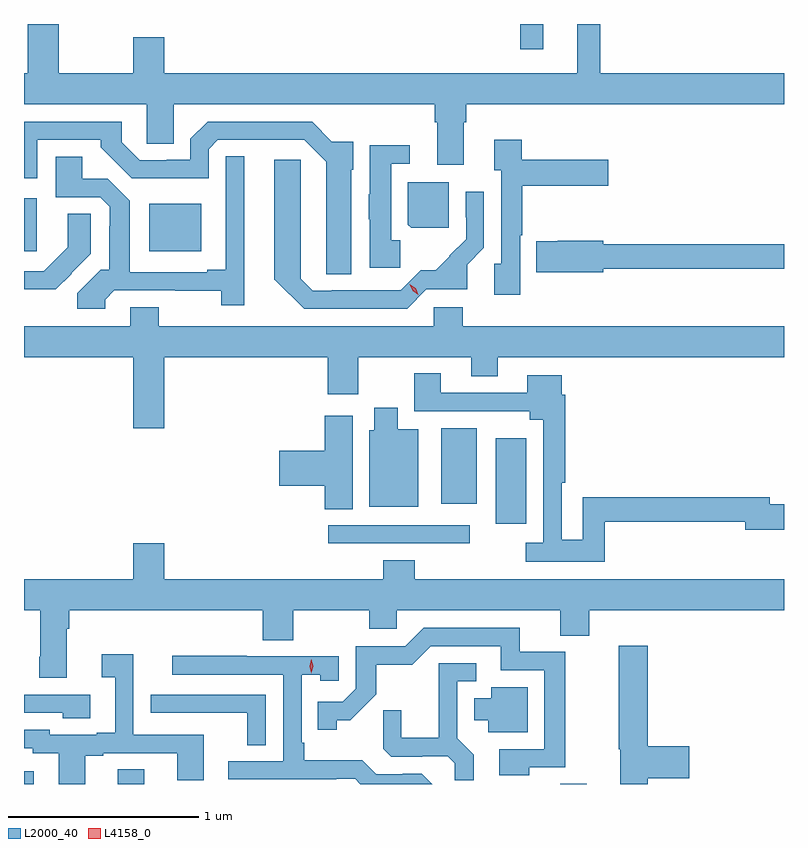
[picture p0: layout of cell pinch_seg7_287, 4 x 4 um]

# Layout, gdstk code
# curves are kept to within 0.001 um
import gdstk
lib = gdstk.Library(unit=1e-6, precision=1e-09)
def R(c, l, rs):  # rectangles x0, y0, x1, y1
    for r in rs: c.add(gdstk.rectangle(r[:2], r[2:], *l))
def P(c, l, *ps):  # polygons
    for p in ps: c.add(gdstk.Polygon(p, *l))
L2000_40 = (2000, 40)
L4158_0 = (4158, 0)

pinch_seg7_287 = lib.new_cell('pinch_seg7_287')
R(pinch_seg7_287, L2000_40, [(560.037,1074.294,560.089,1074.361), (560.531,1074.294,560.671,1074.371), (562.859,1074.294,562.999,1074.296), (561.639,1075.56,562.384,1075.656), (562.52,1075.665,562.681,1076.113), (562.232,1075.769,562.42,1076.167), (560.037,1077.098,560.104,1077.376), (560.696,1077.098,560.971,1077.349), (562.65,1078.161,562.771,1078.294)])
P(pinch_seg7_287, L2000_40, [(562.351,1077.776),(562.364,1077.776),(562.364,1077.872),(564.037,1077.872),(564.037,1078.036),(563.071,1078.036),(563.071,1078.294),(562.949,1078.294),(562.949,1078.036),(560.776,1078.036),(560.776,1078.225),(560.612,1078.225),(560.612,1078.036),(560.221,1078.036),(560.221,1078.294),(560.057,1078.294),(560.057,1078.036),(560.037,1078.036),(560.037,1077.872),(560.684,1077.872),(560.684,1077.664),(560.824,1077.664),(560.824,1077.872),(562.199,1077.872),(562.199,1077.776),(562.211,1077.776),(562.211,1077.552),(562.351,1077.552)],
  [(561.76,1077.528),(561.769,1077.528),(561.769,1077.675),(561.658,1077.675),(561.553,1077.78),(561.003,1077.78),(560.913,1077.69),(560.913,1077.579),(560.788,1077.579),(560.788,1077.576),(560.646,1077.576),(560.552,1077.671),(560.552,1077.78),(560.037,1077.78),(560.037,1077.483),(560.107,1077.483),(560.107,1077.684),(560.442,1077.684),(560.442,1077.645),(560.604,1077.483),(560.707,1077.482),(561.009,1077.482),(561.009,1077.636),(561.057,1077.684),(561.513,1077.684),(561.629,1077.568),(561.629,1076.977),(561.76,1076.977)],
  [(562.648,1077.183),(562.659,1077.183),(562.659,1077.442),(563.113,1077.442),(563.113,1077.579),(562.657,1077.579),(562.657,1077.685),(562.511,1077.685),(562.511,1077.524),(562.548,1077.524),(562.548,1077.033),(562.512,1077.033),(562.512,1076.868),(562.648,1076.868)],
  [(562.018,1077.156),(561.97,1077.156),(561.97,1077.558),(562.066,1077.558),(562.066,1077.656),(561.857,1077.656),(561.857,1077.399),(561.851,1077.399),(561.851,1077.267),(561.857,1077.267),(561.857,1077.011),(562.018,1077.011)],
  [(560.464,1076.843),(560.512,1076.892),(561.076,1076.891),(561.076,1076.814),(561.196,1076.814),(561.196,1077.599),(561.099,1077.599),(561.099,1077.001),(561.002,1077.001),(561.002,1076.988),(560.593,1076.988),(560.593,1077.365),(560.478,1077.48),(560.344,1077.48),(560.344,1077.595),(560.204,1077.595),(560.204,1077.381),(560.439,1077.381),(560.487,1077.333),(560.486,1077.001),(560.44,1077.001),(560.316,1076.877),(560.316,1076.796),(560.464,1076.796)],
  [(562.155,1076.898),(562.37,1076.898),(562.37,1077.027),(562.458,1077.116),(562.458,1077.412),(562.362,1077.412),(562.362,1077.278),(562.365,1077.278),(562.365,1077.162),(562.276,1077.073),(562.278,1077.071),(562.205,1076.998),(562.126,1076.998),(562.02,1076.892),(561.658,1076.892),(561.658,1076.889),(561.558,1076.889),(561.494,1076.954),(561.493,1077.58),(561.353,1077.58),(561.353,1076.949),(561.356,1076.949),(561.433,1076.872),(561.434,1076.873),(561.512,1076.796),(562.053,1076.796)],
  [(562.273,1077.46),(562.058,1077.46),(562.058,1077.237),(562.074,1077.221),(562.273,1077.221)],
  [(560.287,1076.98),(560.286,1076.981),(560.389,1077.084),(560.388,1077.295),(560.268,1077.295),(560.268,1077.12),(560.142,1076.994),(560.037,1076.994),(560.037,1076.898),(560.203,1076.897)],
  [(563.086,1077.006),(564.037,1077.006),(564.037,1077.134),(563.086,1077.134),(563.086,1077.153),(562.846,1077.153),(562.846,1077.15),(562.734,1077.15),(562.734,1076.987),(563.086,1076.987)],
  [(560.776,1076.54),(561.635,1076.54),(561.635,1076.346),(561.795,1076.346),(561.795,1076.54),(562.391,1076.54),(562.391,1076.441),(562.531,1076.441),(562.531,1076.54),(564.037,1076.54),(564.037,1076.704),(562.346,1076.704),(562.346,1076.802),(562.194,1076.802),(562.194,1076.704),(560.745,1076.704),(560.745,1076.803),(560.597,1076.803),(560.597,1076.704),(560.037,1076.704),(560.037,1076.54),(560.612,1076.54),(560.612,1076.166),(560.776,1076.166)],
  [(563.093,1075.674),(563.834,1075.674),(563.834,1075.631),(564.037,1075.631),(564.037,1075.766),(563.962,1075.766),(563.962,1075.802),(562.977,1075.802),(562.977,1075.58),(562.866,1075.58),(562.866,1075.879),(562.886,1075.879),(562.886,1076.342),(562.867,1076.342),(562.867,1076.446),(562.685,1076.446),(562.685,1076.352),(562.231,1076.352),(562.231,1076.455),(562.091,1076.455),(562.091,1076.256),(562.7,1076.256),(562.7,1076.21),(562.77,1076.21),(562.77,1075.564),(562.677,1075.564),(562.677,1075.464),(563.093,1075.464)],
  [(562.111,1076.161),(562.003,1076.161),(562.003,1076.275),(561.881,1076.275),(561.881,1076.157),(561.854,1076.157),(561.854,1075.754),(562.111,1075.754)],
  [(561.766,1076.233),(561.62,1076.233),(561.62,1076.048),(561.381,1076.048),(561.381,1075.865),(561.62,1075.865),(561.62,1075.741),(561.766,1075.741)],
  [(560.263,1075.112),(560.276,1075.112),(560.276,1075.208),(561.293,1075.208),(561.293,1075.051),(561.453,1075.051),(561.453,1075.208),(561.853,1075.208),(561.853,1075.11),(561.999,1075.11),(561.999,1075.208),(562.859,1075.208),(562.859,1075.075),(563.012,1075.075),(563.012,1075.208),(564.037,1075.208),(564.037,1075.372),(562.094,1075.372),(562.094,1075.471),(561.929,1075.471),(561.929,1075.372),(560.776,1075.372),(560.776,1075.561),(560.612,1075.561),(560.612,1075.372),(560.037,1075.372),(560.037,1075.208),(560.123,1075.208),(560.123,1074.964),(560.116,1074.964),(560.116,1074.852),(560.263,1074.852)],
  [(562.695,1074.381),(562.885,1074.381),(562.885,1074.99),(562.646,1074.99),(562.646,1075.116),(562.14,1075.116),(562.044,1075.02),(561.783,1075.02),(561.783,1074.795),(561.714,1074.726),(561.583,1074.726),(561.583,1074.579),(561.684,1074.579),(561.684,1074.629),(561.754,1074.629),(561.892,1074.766),(561.892,1074.922),(562.081,1074.922),(562.179,1075.02),(562.547,1075.02),(562.547,1074.894),(562.776,1074.894),(562.776,1074.477),(562.539,1074.477),(562.539,1074.341),(562.695,1074.341)],
  [(563.321,1074.323),(563.539,1074.323),(563.539,1074.494),(563.321,1074.494),(563.321,1075.021),(563.167,1075.021),(563.167,1074.477),(563.174,1074.477),(563.174,1074.294),(563.321,1074.294)],
  [(560.359,1074.444),(560.455,1074.444),(560.455,1074.456),(560.843,1074.456),(560.843,1074.313),(560.983,1074.313),(560.983,1074.552),(560.613,1074.552),(560.613,1074.976),(560.445,1074.976),(560.445,1074.856),(560.516,1074.856),(560.516,1074.565),(560.42,1074.565),(560.42,1074.552),(560.172,1074.552),(560.172,1074.579),(560.037,1074.579),(560.037,1074.483),(560.082,1074.483),(560.082,1074.456),(560.219,1074.456),(560.219,1074.294),(560.359,1074.294)],
  [(562.131,1074.348),(562.03,1074.348),(562.03,1074.345),(561.891,1074.345),(561.818,1074.418),(561.511,1074.418),(561.511,1074.511),(561.498,1074.511),(561.498,1074.869),(561.597,1074.869),(561.597,1074.837),(561.693,1074.837),(561.693,1074.966),(561.209,1074.966),(561.209,1074.969),(560.817,1074.969),(560.817,1074.87),(561.402,1074.87),(561.402,1074.414),(561.111,1074.414),(561.111,1074.318),(561.68,1074.318),(561.68,1074.321),(561.78,1074.321),(561.807,1074.294),(562.185,1074.294)],
  [(562.403,1074.449),(562.317,1074.535),(562.317,1074.834),(562.417,1074.834),(562.417,1074.93),(562.22,1074.93),(562.22,1074.538),(562.022,1074.538),(562.022,1074.681),(561.928,1074.681),(561.928,1074.479),(561.969,1074.438),(562.134,1074.438),(562.134,1074.441),(562.268,1074.441),(562.305,1074.404),(562.305,1074.313),(562.403,1074.313)],
  [(562.687,1074.802),(562.496,1074.802),(562.496,1074.745),(562.406,1074.745),(562.406,1074.629),(562.481,1074.629),(562.481,1074.566),(562.687,1074.566)],
  [(560.386,1074.765),(560.037,1074.765),(560.037,1074.669),(560.241,1074.669),(560.241,1074.641),(560.386,1074.641)],
  [(561.309,1074.765),(560.703,1074.765),(560.703,1074.67),(560.815,1074.67),(560.815,1074.669),(561.211,1074.669),(561.211,1074.499),(561.309,1074.499)])
P(pinch_seg7_287, L4158_0, [(562.111,1076.87),(562.082,1076.891),(562.068,1076.924),(562.068,1076.924),(562.068,1076.924),(562.098,1076.904),(562.112,1076.87),(562.112,1076.87)],
  [(561.549,1074.878),(561.549,1074.879),(561.54,1074.915),(561.55,1074.951),(561.55,1074.951),(561.55,1074.951),(561.56,1074.914),(561.549,1074.879)])

lib.write_gds('pinch_seg7_287.gds')
